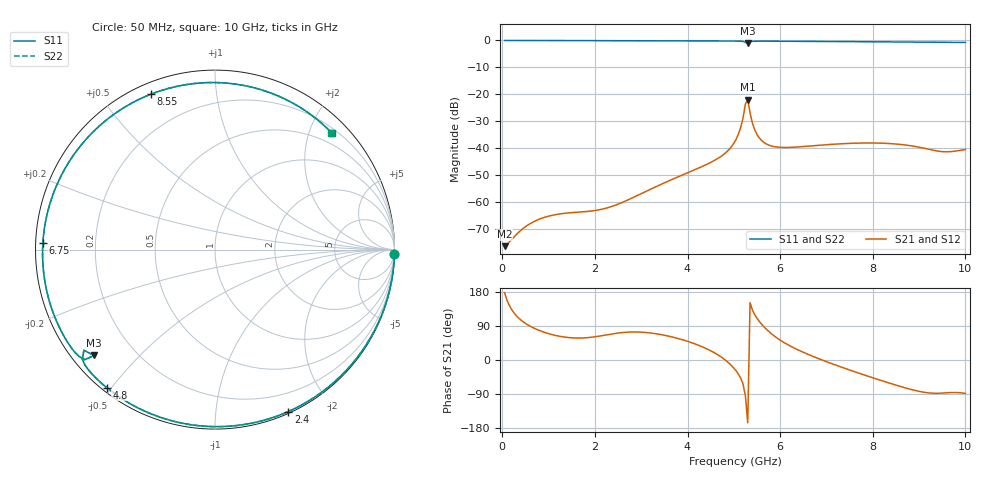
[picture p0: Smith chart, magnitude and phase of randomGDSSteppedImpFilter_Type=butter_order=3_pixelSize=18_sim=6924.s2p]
! freq	dB(S11)	phase(S11)	dB(S12)	phase(S12)
!  dB(S21)	phase(S21)	dB(S22)	phase(S22)
!S-par simulation data
#  GHz  S  DB  R 50
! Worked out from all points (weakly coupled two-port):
!   200 points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, 50 MHz to 10 GHz, reference 50 ohm
!   highest |S21| = -21.90 dB at 5.3 GHz (marker M1); lowest = -76.2 dB at 50 MHz (marker M2)
!   lowest |S11| = -1.0 dB at 5.3 GHz (marker M3), VSWR 18.04, Z = 3.16 - j18.7 ohm
!   |S11| at or under -10 dB: nowhere
!   |S22| runs from -1.0 to 0.0 dB; largest |S21 - S12| = 0
!   S11 on the Smith chart (normalised r, x): 50 MHz: 0, -82; 2.4 GHz: 0.02, -1.55; 4.8 GHz: 0.01, -0.49; 6.75 GHz: 0.02, +0.02; 8.55 GHz: 0.05, +0.67; 10 GHz: 0.28, +2.38
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0.05  -0.00 -1.4  -76.21 177.7  -76.21 177.7  -0.00 -1.4
0.45  -0.01 -12.6  -69.64 100.8  -69.64 100.8  -0.01 -12.6
0.75  -0.02 -21.0  -66.56 80.4  -66.56 80.4  -0.02 -21.0
1.75  -0.06 -48.3  -63.46 58.2  -63.46 58.2  -0.06 -48.2
2.4  -0.08 -65.6  -61.29 69.4  -61.29 69.4  -0.08 -65.6
3.4  -0.12 -91.7  -53.52 67.7  -53.52 67.7  -0.12 -91.7
4.8  -0.20 -128.1  -41.94 1.3  -41.94 1.3  -0.20 -128.1
5.05  -0.23 -135.2  -36.58 -28.8  -36.58 -28.8  -0.23 -135.1
5.15  -0.28 -138.4  -32.14 -48.2  -32.14 -48.2  -0.28 -138.4
5.25  -0.71 -142.5  -23.52 -95.7  -23.52 -95.7  -0.71 -142.5
5.3  -0.96 -138.8  -21.90 -165.7  -21.90 -165.7  -0.96 -138.8
5.4  -0.32 -141.9  -30.55 132.2  -30.55 132.2  -0.32 -141.8
5.45  -0.28 -143.7  -33.06 119.9  -33.06 119.9  -0.28 -143.6
5.65  -0.26 -149.8  -37.79 87.6  -37.79 87.6  -0.26 -149.7
6  -0.29 -159.8  -39.59 52.5  -39.59 52.5  -0.29 -159.8
6.7  -0.35 179.4  -39.03 9.9  -39.03 9.9  -0.35 179.4
6.75  -0.36 177.8  -38.96 7.4  -38.96 7.4  -0.36 177.9
7.55  -0.45 151.2  -38.09 -28.5  -38.09 -28.5  -0.45 151.3
8.35  -0.55 120.7  -38.17 -60.6  -38.17 -60.6  -0.55 120.8
8.55  -0.57 112.4  -38.43 -68.1  -38.43 -68.1  -0.57 112.5
9.3  -0.65 78.7  -40.65 -87.7  -40.65 -87.7  -0.65 78.8
10  -0.73 45.1  -40.42 -88.0  -40.42 -88.0  -0.73 45.2
